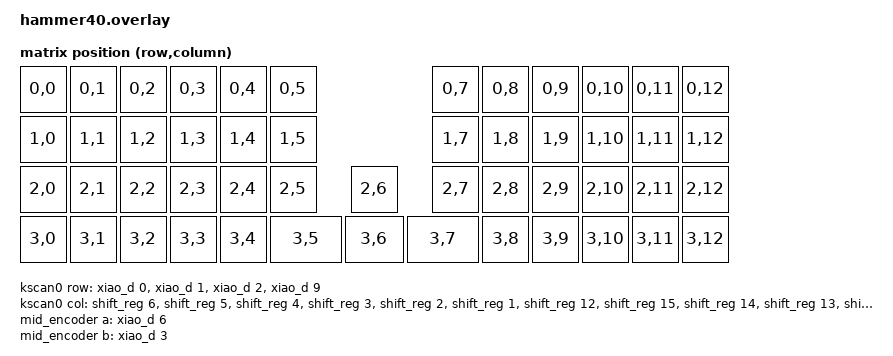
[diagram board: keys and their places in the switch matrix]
#include <dt-bindings/zmk/matrix_transform.h>
#include <physical_layouts.dtsi>

&xiao_spi {
    status = "okay";
    cs-gpios = <&xiao_d 7 GPIO_ACTIVE_LOW>;
    shift_reg: 74HC595@0 {
        compatible = "zmk,gpio-595";
        status = "okay";
        gpio-controller;
        spi-max-frequency = <200000>;
        reg = <0>;
        #gpio-cells = <2>;
        ngpios = <16>;
    };
};

&xiao_serial { status = "disabled"; };

&xiao_i2c { status = "okay"; };

/ {
    chosen {
        zmk,physical-layout = &default_layout;
    };

    default_layout: default_layout {
        compatible = "zmk,physical-layout";
        display-name = "Default Layout";
        transform = <&default_transform>;
        kscan = <&kscan0>;
        keys  //                     w   h    x    y     rot    rx    ry
            = <&key_physical_attrs 100 100    0    0       0     0     0>
            , <&key_physical_attrs 100 100  100    0       0     0     0>
            , <&key_physical_attrs 100 100  200    0       0     0     0>
            , <&key_physical_attrs 100 100  300    0       0     0     0>
            , <&key_physical_attrs 100 100  400    0       0     0     0>
            , <&key_physical_attrs 100 100  500    0       0     0     0>
            , <&key_physical_attrs 100 100  825    0       0     0     0>
            , <&key_physical_attrs 100 100  925    0       0     0     0>
            , <&key_physical_attrs 100 100 1025    0       0     0     0>
            , <&key_physical_attrs 100 100 1125    0       0     0     0>
            , <&key_physical_attrs 100 100 1225    0       0     0     0>
            , <&key_physical_attrs 100 100 1325    0       0     0     0>
            , <&key_physical_attrs 100 100    0  100       0     0     0>
            , <&key_physical_attrs 100 100  100  100       0     0     0>
            , <&key_physical_attrs 100 100  200  100       0     0     0>
            , <&key_physical_attrs 100 100  300  100       0     0     0>
            , <&key_physical_attrs 100 100  400  100       0     0     0>
            , <&key_physical_attrs 100 100  500  100       0     0     0>
            , <&key_physical_attrs 100 100  825  100       0     0     0>
            , <&key_physical_attrs 100 100  925  100       0     0     0>
            , <&key_physical_attrs 100 100 1025  100       0     0     0>
            , <&key_physical_attrs 100 100 1125  100       0     0     0>
            , <&key_physical_attrs 100 100 1225  100       0     0     0>
            , <&key_physical_attrs 100 100 1325  100       0     0     0>
            , <&key_physical_attrs 100 100    0  200       0     0     0>
            , <&key_physical_attrs 100 100  100  200       0     0     0>
            , <&key_physical_attrs 100 100  200  200       0     0     0>
            , <&key_physical_attrs 100 100  300  200       0     0     0>
            , <&key_physical_attrs 100 100  400  200       0     0     0>
            , <&key_physical_attrs 100 100  500  200       0     0     0>
            , <&key_physical_attrs 100 100  662  200       0     0     0>
            , <&key_physical_attrs 100 100  825  200       0     0     0>
            , <&key_physical_attrs 100 100  925  200       0     0     0>
            , <&key_physical_attrs 100 100 1025  200       0     0     0>
            , <&key_physical_attrs 100 100 1125  200       0     0     0>
            , <&key_physical_attrs 100 100 1225  200       0     0     0>
            , <&key_physical_attrs 100 100 1325  200       0     0     0>
            , <&key_physical_attrs 100 100    0  300       0     0     0>
            , <&key_physical_attrs 100 100  100  300       0     0     0>
            , <&key_physical_attrs 100 100  200  300       0     0     0>
            , <&key_physical_attrs 100 100  300  300       0     0     0>
            , <&key_physical_attrs 100 100  400  300       0     0     0>
            , <&key_physical_attrs 150 100  500  300       0     0     0>
            , <&key_physical_attrs 125 100  650  300       0     0     0>
            , <&key_physical_attrs 150 100  775  300       0     0     0>
            , <&key_physical_attrs 100 100  925  300       0     0     0>
            , <&key_physical_attrs 100 100 1025  300       0     0     0>
            , <&key_physical_attrs 100 100 1125  300       0     0     0>
            , <&key_physical_attrs 100 100 1225  300       0     0     0>
            , <&key_physical_attrs 100 100 1325  300       0     0     0>
            ;
    };

    pos_map {
		compatible = "zmk,physical-layout-position-map";
		complete;
		default {
			physical-layout = <&default_layout>;
			positions
				= < 0  1  2  3  4  5     6  7  8  9 10 11>
				, <12 13 14 15 16 17    18 19 20 21 22 23>
				, <24 25 26 27 28 29 30 31 32 33 34 35 36>
				, <37 38 39 40 41 42 43 44 45 46 47 48 49>;
		};
	};

    kscan0: kscan {
        compatible = "zmk,kscan-gpio-matrix";
        wakeup-source;

        diode-direction = "col2row";

        col-gpios
            = <&shift_reg 6 (GPIO_ACTIVE_HIGH)>
            , <&shift_reg 5 (GPIO_ACTIVE_HIGH)>
            , <&shift_reg 4 (GPIO_ACTIVE_HIGH)>
            , <&shift_reg 3 (GPIO_ACTIVE_HIGH)>
            , <&shift_reg 2 (GPIO_ACTIVE_HIGH)>
            , <&shift_reg 1 (GPIO_ACTIVE_HIGH)>
            , <&shift_reg 12 (GPIO_ACTIVE_HIGH)>
            , <&shift_reg 15 (GPIO_ACTIVE_HIGH)>
            , <&shift_reg 14 (GPIO_ACTIVE_HIGH)>
            , <&shift_reg 13 (GPIO_ACTIVE_HIGH)>
            , <&shift_reg 11 (GPIO_ACTIVE_HIGH)>
            , <&shift_reg 10 (GPIO_ACTIVE_HIGH)>
            , <&shift_reg 9 (GPIO_ACTIVE_HIGH)>
            ;

        row-gpios
            = <&xiao_d 0 (GPIO_ACTIVE_HIGH | GPIO_PULL_DOWN)>
            , <&xiao_d 1 (GPIO_ACTIVE_HIGH | GPIO_PULL_DOWN)>
            , <&xiao_d 2 (GPIO_ACTIVE_HIGH | GPIO_PULL_DOWN)>
            , <&xiao_d 9 (GPIO_ACTIVE_HIGH | GPIO_PULL_DOWN)>
            ;
    };

    default_transform: keymap_transform_0 {
        compatible = "zmk,matrix-transform";
        columns = <13>;
        rows = <4>;
        map = <
            RC(0,0) RC(0,1) RC(0,2) RC(0,3) RC(0,4) RC(0,5)         RC(0,7) RC(0,8) RC(0,9) RC(0,10) RC(0,11) RC(0,12)
            RC(1,0) RC(1,1) RC(1,2) RC(1,3) RC(1,4) RC(1,5)         RC(1,7) RC(1,8) RC(1,9) RC(1,10) RC(1,11) RC(1,12)
            RC(2,0) RC(2,1) RC(2,2) RC(2,3) RC(2,4) RC(2,5) RC(2,6) RC(2,7) RC(2,8) RC(2,9) RC(2,10) RC(2,11) RC(2,12)
            RC(3,0) RC(3,1) RC(3,2) RC(3,3) RC(3,4) RC(3,5) RC(3,6) RC(3,7) RC(3,8) RC(3,9) RC(3,10) RC(3,11) RC(3,12)
        >;
    };

    mid_encoder: mid_encoder {
        compatible = "alps,ec11";
        a-gpios = <&xiao_d 6 (GPIO_ACTIVE_HIGH | GPIO_PULL_UP)>;
        b-gpios = <&xiao_d 3 (GPIO_ACTIVE_HIGH | GPIO_PULL_UP)>;
        steps = <80>;
        status = "okay";
    };

    sensors: sensors {
        compatible = "zmk,keymap-sensors";
        sensors = <&mid_encoder>;
        triggers-per-rotation = <20>;
    };
};
